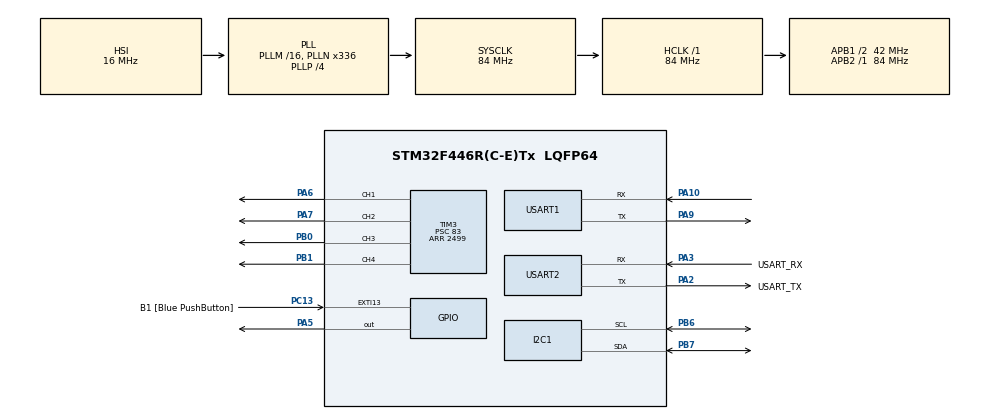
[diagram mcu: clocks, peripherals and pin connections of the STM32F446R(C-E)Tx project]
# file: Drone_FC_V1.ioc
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Mcu.Family=STM32F4
Mcu.Name=STM32F446R(C-E)Tx
Mcu.Package=LQFP64
NVIC.PriorityGroup=NVIC_PRIORITYGROUP_0
NVIC.TIM6_DAC_IRQn=true\:0\:0\:false\:false\:true\:true\:true\:true
PA10.Mode=Asynchronous
PA10.Signal=USART1_RX
PA13.GPIO_Label=TMS
PA13.Mode=Serial_Wire
PA13.Signal=SYS_JTMS-SWDIO
PA14.GPIO_Label=TCK
PA14.Mode=Serial_Wire
PA14.Signal=SYS_JTCK-SWCLK
PA2.GPIO_Label=USART_TX
PA2.Mode=Asynchronous
PA2.Signal=USART2_TX
PA3.GPIO_Label=USART_RX
PA3.Mode=Asynchronous
PA3.Signal=USART2_RX
PA5.Signal=GPIO_Output
PA6.Signal=S_TIM3_CH1
PA7.Signal=S_TIM3_CH2
PA9.Mode=Asynchronous
PA9.Signal=USART1_TX
PB0.Signal=S_TIM3_CH3
PB1.Signal=S_TIM3_CH4
PB3.GPIO_Label=SWO
PB3.Signal=SYS_JTDO-SWO
PB6.Mode=I2C
PB6.Signal=I2C1_SCL
PB7.Mode=I2C
PB7.Signal=I2C1_SDA
PC13.GPIO_Label=B1 [Blue PushButton]
PC13.GPIO_ModeDefaultEXTI=GPIO_MODE_IT_FALLING
PC13.Signal=GPXTI13
PC14-OSC32_IN.Mode=LSE-External-Oscillator
PC14-OSC32_IN.Signal=RCC_OSC32_IN
PC15-OSC32_OUT.Mode=LSE-External-Oscillator
PC15-OSC32_OUT.Signal=RCC_OSC32_OUT
PH0-OSC_IN.Mode=HSE-External-Oscillator
PH0-OSC_IN.Signal=RCC_OSC_IN
PH1-OSC_OUT.Mode=HSE-External-Oscillator
PH1-OSC_OUT.Signal=RCC_OSC_OUT
ProjectManager.HeapSize=0x200
ProjectManager.StackSize=0x400
ProjectManager.TargetToolchain=STM32CubeIDE
RCC.48MHZClocksFreq_Value=84000000
RCC.AHBFreq_Value=84000000
RCC.APB1CLKDivider=RCC_HCLK_DIV2
RCC.APB1Freq_Value=42000000
RCC.APB1TimFreq_Value=84000000
RCC.APB2Freq_Value=84000000
RCC.APB2TimFreq_Value=84000000
RCC.CortexFreq_Value=84000000
RCC.FLatency-AdvancedSettings=FLASH_LATENCY_2
RCC.HCLKFreq_Value=84000000
RCC.HSE_VALUE=8000000
RCC.HSI_VALUE=16000000
RCC.PLLN=336
RCC.PLLP=RCC_PLLP_DIV4
RCC.SYSCLKFreq_VALUE=84000000
RCC.SYSCLKSource=RCC_SYSCLKSOURCE_PLLCLK
RCC.USBFreq_Value=168000000
RCC.VCOOutputFreq_Value=336000000
SH.S_TIM3_CH1.0=TIM3_CH1,PWM Generation1 CH1
SH.S_TIM3_CH2.0=TIM3_CH2,PWM Generation2 CH2
SH.S_TIM3_CH3.0=TIM3_CH3,PWM Generation3 CH3
SH.S_TIM3_CH4.0=TIM3_CH4,PWM Generation4 CH4
TIM3.Channel-PWM\ Generation1\ CH1=TIM_CHANNEL_1
TIM3.Channel-PWM\ Generation2\ CH2=TIM_CHANNEL_2
TIM3.Channel-PWM\ Generation3\ CH3=TIM_CHANNEL_3
TIM3.Channel-PWM\ Generation4\ CH4=TIM_CHANNEL_4
TIM3.Period=2499
TIM3.Prescaler=83
TIM3.Pulse-PWM\ Generation1\ CH1=1000
TIM3.Pulse-PWM\ Generation2\ CH2=1000
TIM3.Pulse-PWM\ Generation3\ CH3=1000
TIM3.Pulse-PWM\ Generation4\ CH4=1000
TIM6.Period=100-1
TIM6.Prescaler=8400-1
USART1.VirtualMode=VM_ASYNC
USART2.VirtualMode=VM_ASYNC
VP_TIM3_VS_ClockSourceINT.Mode=Internal
VP_TIM6_VS_ClockSourceINT.Mode=Enable_Timer
board=NUCLEO-F446RE

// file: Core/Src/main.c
/* USER CODE BEGIN Header */
/**
  ******************************************************************************
  * @file           : main.c
  * @brief          : Firmware for a quadrocopter drone flight controller
  ******************************************************************************
  * @attention
  *
  * Copyright (c) 2026 STMicroelectronics.
  * All rights reserved.
  *
  * This software is licensed under terms that can be found in the LICENSE file
  * in the root directory of this software component.
  * If no LICENSE file comes with this software, it is provided AS-IS.
  *
  ******************************************************************************
  */
/* USER CODE END Header */
#include "main.h"
#include "i2c.h"
#include "tim.h"
#include "usart.h"
#include "gpio.h"

/* USER CODE BEGIN Includes */
#include <stdio.h>
#include <string.h>
#include <math.h>
/* USER CODE END Includes */

/* USER CODE BEGIN PV */

// -- Define Variables for RF Connection --

uint8_t incoming;	// Stores incoming data from Receiver Bridge

char line_buffer[64];	// Stores complete line from Receiver Bridge
int buffer_index = 0;	// Index in line_buffer

volatile struct {
	int16_t throttle;
    int16_t pitch;
    int16_t roll;
    int16_t yaw;
    int16_t arm;
}controlInput;	// Struct for control values

// Flag and toggle variable for arm/idel mode
volatile uint8_t is_armed = 0;
int16_t last_arm_input = 0;

// -- Define Variables for reading IMU --

uint8_t buffer[14];	// Stores incoming data from IMU
int16_t accel_x, accel_y, accel_z;	// Raw Data
int16_t gyro_x, gyro_y, gyro_z;	// Raw Data

float gyro_x_ds, gyro_y_ds, gyro_z_ds;	// Gyro rate of change per second
float accel_pitch, accel_roll;	// Calibrated angles
float raw_accel_pitch, raw_accel_roll;	// Calculated angles
float filtered_pitch, filtered_roll;	// Filtered angles

float dt = 0.01f; // Duration of loop for angle integration

float gyro_x_offset = 0, gyro_y_offset = 0, gyro_z_offset = 0;	// Variables for IMU calibration
float accel_pitch_offset = 0, accel_roll_offset = 0;

// -- Define PID Variables --

struct PID_Config {
	float kp;
	float ki;
	float kd;
	float integral;
	float lastError;
};

// Tuning values for coefficients
struct PID_Config pid_pitch = {2.25f, 0.0f, 0.49f, 0.0f, 0.0f};
struct PID_Config pid_roll  = {2.25f, 0.00f, 0.49f, 0.0f, 0.0f};
struct PID_Config pid_yaw   = {0.0f, 0.00f, 0.0f, 0.0f, 0.0f};

// Output values for ESC
volatile float pid_out_pitch = 0.0f;
volatile float pid_out_roll  = 0.0f;
volatile float pid_out_yaw   = 0.0f;

// -- Define Debugging Variables --

uint32_t debug_counter = 0;	// Determine debugging output rate

/* USER CODE END PV */

void SystemClock_Config(void);
/* USER CODE BEGIN PFP */

void Read_RF_Receiver(void);
HAL_StatusTypeDef Read_IMU(void);
void Calculate_PID(void);
void Calibrate_IMU(void);
void Update_Motors(void);
void ESC_init(void);

/* USER CODE END PFP */

/* USER CODE BEGIN 0 */
#ifdef __GNUC__
#define PUTCHAR_PROTOTYPE int __io_putchar(int ch)
#else
#define PUTCHAR_PROTOTYPE int fputc(int ch, FILE *f)
#endif

PUTCHAR_PROTOTYPE
{
  HAL_UART_Transmit(&huart2, (uint8_t *)&ch, 1, HAL_MAX_DELAY);
  return ch;
}

/* USER CODE END 0 */

int main(void)
{

  /* MCU Configuration--------------------------------------------------------*/

  /* Reset of all peripherals, Initializes the Flash interface and the Systick. */
  HAL_Init();

  /* Configure the system clock */
  SystemClock_Config();

  /* Initialize all configured peripherals */
  MX_GPIO_Init();
  MX_USART1_UART_Init();
  MX_USART2_UART_Init();
  MX_I2C1_Init();
  MX_TIM6_Init();
  MX_TIM3_Init();
  /* USER CODE BEGIN 2 */

  // Initialize ESC
  ESC_init();

  // Initialize IMU
  uint8_t power_mgmt = 0;
  HAL_I2C_Mem_Write(&hi2c1, (0x68 << 1), 0x6B, 1, &power_mgmt, 1, 100);
  HAL_Delay(100);

  // Activate MPU6050's DLPF and set to 4 -> cutoff at 20 Hz
  uint8_t dlpf_config = 4;
  HAL_I2C_Mem_Write(&hi2c1, (0x68 << 1), 0x1A, 1, &dlpf_config, 1, 100);
  HAL_Delay(10);

  // Calibrate IMU
  Calibrate_IMU();

  // Initialize timer interrupt
  HAL_TIM_Base_Start_IT(&htim6);

  /* USER CODE END 2 */

  /* Infinite loop */
  /* USER CODE BEGIN WHILE */
  while(1)
  {
	  // Read data from receiver bridge
	  Read_RF_Receiver();

	  // -- Debug Print (enable only when debugging!) --
	  if (debug_counter >= 1)
	  {
	  	  //printf("IMU:%.2f,%.2f,%.2f\n", filtered_pitch, filtered_roll, gyro_z_ds);

	  	  debug_counter = 0;
	  }

    /* USER CODE END WHILE */

  }
}

void SystemClock_Config(void)
{
  RCC_OscInitTypeDef RCC_OscInitStruct = {0};
  RCC_ClkInitTypeDef RCC_ClkInitStruct = {0};

  /** Configure the main internal regulator output voltage
  */
  __HAL_RCC_PWR_CLK_ENABLE();
  __HAL_PWR_VOLTAGESCALING_CONFIG(PWR_REGULATOR_VOLTAGE_SCALE3);

  /** Initializes the RCC Oscillators according to the specified parameters
  * in the RCC_OscInitTypeDef structure.
  */
  RCC_OscInitStruct.OscillatorType = RCC_OSCILLATORTYPE_HSI;
  RCC_OscInitStruct.HSIState = RCC_HSI_ON;
  RCC_OscInitStruct.HSICalibrationValue = RCC_HSICALIBRATION_DEFAULT;
  RCC_OscInitStruct.PLL.PLLState = RCC_PLL_ON;
  RCC_OscInitStruct.PLL.PLLSource = RCC_PLLSOURCE_HSI;
  RCC_OscInitStruct.PLL.PLLM = 16;
  RCC_OscInitStruct.PLL.PLLN = 336;
  RCC_OscInitStruct.PLL.PLLP = RCC_PLLP_DIV4;
  RCC_OscInitStruct.PLL.PLLQ = 2;
  RCC_OscInitStruct.PLL.PLLR = 2;
  if (HAL_RCC_OscConfig(&RCC_OscInitStruct) != HAL_OK)
  {
    Error_Handler();
  }

  /** Initializes the CPU, AHB and APB buses clocks
  */
  RCC_ClkInitStruct.ClockType = RCC_CLOCKTYPE_HCLK|RCC_CLOCKTYPE_SYSCLK
                              |RCC_CLOCKTYPE_PCLK1|RCC_CLOCKTYPE_PCLK2;
  RCC_ClkInitStruct.SYSCLKSource = RCC_SYSCLKSOURCE_PLLCLK;
  RCC_ClkInitStruct.AHBCLKDivider = RCC_SYSCLK_DIV1;
  RCC_ClkInitStruct.APB1CLKDivider = RCC_HCLK_DIV2;
  RCC_ClkInitStruct.APB2CLKDivider = RCC_HCLK_DIV1;

  if (HAL_RCC_ClockConfig(&RCC_ClkInitStruct, FLASH_LATENCY_2) != HAL_OK)
  {
    Error_Handler();
  }
}

/* USER CODE BEGIN 4 */

/**
  * @brief  Timer interrupt executed every 10 ms for IMU reading and PID calculation
  * @retval None
  */
void HAL_TIM_PeriodElapsedCallback(TIM_HandleTypeDef *htim)
{
    // Check if tim6 caused interrupt
    if (htim->Instance == TIM6)
    {
        // Read IMU data
        if (Read_IMU() == HAL_OK)
        {
            // Calculate PID value for motor control
            Calculate_PID();

            // Send value to ESC
            Update_Motors();

            debug_counter++;
        }
    }
}

/**
  * @brief  Initializes electronic speed controller
  * @retval None
  */
void ESC_init(void)
{
	// Stop the Timer
	TIM3->CR1 &= ~TIM_CR1_CEN;

	// Configure Prescaler and Auto Reload Period (equals to 400Hz and 2.5ms)
	TIM3->PSC = 83;
	TIM3->ARR = 2449;

	// Set to {WM Mode 1 and Preload
	TIM3->CCMR1 = (0x60U << 0) | (0x08U << 0)  | (0x60U << 8) | (0x08U << 8); // CH1 & CH2
	TIM3->CCMR2 = (0x60U << 0) | (0x08U << 0)  | (0x60U << 8) | (0x08U << 8); // CH3 & CH4

	// Polarity to Active High and arm output

	TIM3->CCER &= ~(TIM_CCER_CC1P | TIM_CCER_CC2P | TIM_CCER_CC3P | TIM_CCER_CC4P);
	TIM3->CCER |= (TIM_CCER_CC1E | TIM_CCER_CC2E | TIM_CCER_CC3E | TIM_CCER_CC4E);

	// Initialize channels with pulse width of 950us
	TIM3->CCR1 = 950;
	TIM3->CCR2 = 950;
	TIM3->CCR3 = 950;
	TIM3->CCR4 = 950;

	// Reset and start
	TIM3->EGR |= TIM_EGR_UG;
	TIM3->CNT = 0;
	TIM3->CR1 |= TIM_CR1_CEN;

	printf("Initialized ESC...\n");

	// Time buffer 2.5s
	HAL_Delay(2500);
}

/**
  * @brief  Calibrates IMU before taking flight
  * @retval None
  */
void Calibrate_IMU(void)
{
	// --- Start calibration ---
	printf("Calibrating IMU... Do not move Drone!\r\n");

	float gyro_x_sum = 0, gyro_y_sum = 0, gyro_z_sum = 0;
	float pitch_sum = 0, roll_sum = 0;
	int samples = 500;

	for (int i = 0; i < samples; i++)
	{
	    if (HAL_I2C_Mem_Read(&hi2c1, (0x68 << 1), 0x3B, 1, buffer, 14, 10) == HAL_OK)
	    {
	        // Extract raw data from IMU
	        int16_t ax = (int16_t)(buffer[0] << 8 | buffer[1]);
	        int16_t ay = (int16_t)(buffer[2] << 8 | buffer[3]);
	        int16_t az = (int16_t)(buffer[4] << 8 | buffer[5]);
	        int16_t gx = (int16_t)(buffer[8] << 8 | buffer[9]);
	        int16_t gy = (int16_t)(buffer[10] << 8 | buffer[11]);
	        int16_t gz = (int16_t)(buffer[12] << 8 | buffer[13]);

	        // Sum gyro rates
	        gyro_x_sum += gx / 131.0f;
	        gyro_y_sum += gy / 131.0f;
	        gyro_z_sum += gz / 131.0f;

	        // Calculate uncorrected accelerometer angles for test
	        float raw_pitch = atan2f((float)ay, (float)az) * 57.295f;
	        float raw_roll  = atan2f(-(float)ax, sqrtf((float)ay * ay + (float)az * az)) * 57.295f;

	        pitch_sum += raw_pitch;
	        roll_sum += raw_roll;
	    }
	    HAL_Delay(2);
	}

	// Calculate average error
	gyro_x_offset = gyro_x_sum / samples;
	gyro_y_offset = gyro_y_sum / samples;
	gyro_z_offset = gyro_z_sum / samples;

	accel_pitch_offset = pitch_sum / samples;
	accel_roll_offset  = roll_sum / samples;

	printf("Calibration done! P_off: %.2f | R_off: %.2f\r\n", accel_pitch_offset, accel_roll_offset);
	// --- End of calibration ---
}

/**
  * @brief  Reads control values from receiver bridge
  * @retval None
  */
void Read_RF_Receiver(void)
{
	// Temporary values for sanity check
	int16_t temp_pitch, temp_roll, temp_yaw, temp_arm, temp_throttle;

	// Flag for finding a new line
	static uint8_t sync_detected = 0;

	// Check for and delete OverRunErrors
	// Prevt UART blocking after reset
	if (__HAL_UART_GET_FLAG(&huart1, UART_FLAG_ORE)) {
		__HAL_UART_CLEAR_FLAG(&huart1, UART_FLAG_ORE);
	}
	if (__HAL_UART_GET_FLAG(&huart1, UART_FLAG_NE)) {
		__HAL_UART_CLEAR_FLAG(&huart1, UART_FLAG_NE);
	}

	// Receive data from receiver bridge
	if(HAL_UART_Receive(&huart1, &incoming, 1, 1) == HAL_OK)
	{
		// Delete buffer when new line is detected
		if (incoming == '#')
		{
			buffer_index = 0;
			sync_detected = 1;
			return; // To leave out the '#'
		}

		// Read input only when flag is set
		if (sync_detected)
		{
			if (incoming == '\n')
			{
				if (buffer_index > 0)
				{
					line_buffer[buffer_index] = '\0'; // End of String

					// Check if parsing from input worked
					int parsed = sscanf(line_buffer, "%hd,%hd,%hd,%hd,%hd", &temp_pitch, &temp_roll, &temp_yaw, &temp_arm, &temp_throttle);

					// For debugging purposes
					if (parsed == 5)
					{
						HAL_GPIO_TogglePin(GPIOA, GPIO_PIN_5);

						// --- SANITY CHECK ---
						// Check if input makes sense
						if (temp_pitch >= -45 && temp_pitch <= 45 &&
						    temp_roll >= -45 && temp_roll <= 45 &&
						    temp_throttle >= 1000 && temp_throttle <= 2000)
						{
						    // Values make sense, write to control struct
						    controlInput.pitch = temp_pitch;
						    controlInput.roll = temp_roll;
						    controlInput.yaw = temp_yaw;
						    controlInput.arm = temp_arm;
						    controlInput.throttle = temp_throttle;

						    // Toggle logic for arm mode
						    if (controlInput.arm == 1 && last_arm_input == 0)
						    {
						    	if (is_armed == 0)
						    	{
						        	is_armed = 1;
						        }
						        else
						        {
						        	is_armed = 0;
						        }
						    }
						    last_arm_input = controlInput.arm;
						}
						else
						{
						    // Values are not legit, throw away
						}

						// Pass values to Serial for debugging, turn off for flight performance
						//printf("%s, is_armed: %d\n", line_buffer, is_armed);
					}
				}
				buffer_index = 0;
				sync_detected = 0; // Wait for the next '#'
			}
			else if (incoming != '\r')
			{
				if (buffer_index < 62) // Protect buffer from over running
				{
					line_buffer[buffer_index++] = incoming;
				}
				else
				{
					buffer_index = 0;
					sync_detected = 0; // Buffer is full with no '\n' -> reset
				}
			}
		}
	}
}

/**
  * @brief  Reads data from IMU
  * @retval Enum indicating success of reading IMU
  */
HAL_StatusTypeDef Read_IMU(void)
{
	// -- Receive data from IMU --
    HAL_StatusTypeDef status = HAL_I2C_Mem_Read(&hi2c1, (0x68 << 1), 0x3B, 1, buffer, 14, 5);

    if (status == HAL_OK)
    {
    	// Extract raw data from IMU
		accel_x = (int16_t)(buffer[0] << 8 | buffer[1]);
	    accel_y = (int16_t)(buffer[2] << 8 | buffer[3]);
	    accel_z = (int16_t)(buffer[4] << 8 | buffer[5]);
	    gyro_x  = (int16_t)(buffer[8] << 8 | buffer[9]);
	    gyro_y  = (int16_t)(buffer[10] << 8 | buffer[11]);
	    gyro_z  = (int16_t)(buffer[12] << 8 | buffer[13]);

	    // Convert raw values to physical unit -> degrees/second
	    gyro_x_ds = (gyro_x / 131.0f) - gyro_x_offset;
	    gyro_y_ds = (gyro_y / 131.0f) - gyro_y_offset;
	    gyro_z_ds = (gyro_z / 131.0f) - gyro_z_offset;

	    // Calculate angle of pitch and roll from accelerometer and convert to degrees
	    raw_accel_pitch = atan2f((float)accel_y, (float)accel_z) * 57.295f;
	    raw_accel_roll  = atan2f(-(float)accel_x, sqrtf((float)accel_y * accel_y + (float)accel_z * accel_z)) * 57.295f;

	    // Correct angle of pitch and roll with calibrated offset
	    accel_pitch = raw_accel_pitch - accel_pitch_offset;
	    accel_roll = raw_accel_roll - accel_roll_offset;

	    // Filter/Fuse values with complementary filter (tune here)
	    filtered_pitch = 0.995f * (filtered_pitch + gyro_x_ds * dt) + 0.005f * accel_pitch;
	    filtered_roll  = 0.995f * (filtered_roll  + gyro_y_ds * dt) + 0.005f * accel_roll;

	    // No absolute value for yaw, only rate of change from gyro is used
	    // due to risk of integration error
    }
    return status;
}

/**
  * @brief  Calculates outputs for ESC using PID control
  * @retval None
  */
void Calculate_PID(void)
{
	// Prevent I-term windup during start
	if (is_armed == 0)
	{
	    // Delete PID-Memory
	    pid_pitch.integral = 0.0f;
	    pid_pitch.lastError = 0.0f;

	    pid_roll.integral = 0.0f;
	    pid_roll.lastError = 0.0f;

	    pid_yaw.integral = 0.0f;
	    pid_yaw.lastError = 0.0f;

	    // PID-Outputs to zero
	    pid_out_pitch = 0.0f;
	    pid_out_roll  = 0.0f;
	    pid_out_yaw   = 0.0f;

	    return;
	}

    // --- Pitch ---
    float error_pitch = (float)controlInput.pitch - filtered_pitch;
    float p_term_pitch = pid_pitch.kp * error_pitch;

    pid_pitch.integral += error_pitch * dt;
    if (pid_pitch.integral > 400.0f)  pid_pitch.integral = 400.0f; // Anti-Windup
    if (pid_pitch.integral < -400.0f) pid_pitch.integral = -400.0f;

    float d_term_pitch = pid_pitch.kd * (error_pitch - pid_pitch.lastError) / dt;
    pid_out_pitch = p_term_pitch + (pid_pitch.ki * pid_pitch.integral) + d_term_pitch;
    pid_pitch.lastError = error_pitch;

    // --- Roll ---
    float error_roll = (float)controlInput.roll - filtered_roll;
    float p_term_roll = pid_roll.kp * error_roll;

    pid_roll.integral += error_roll * dt;
    if (pid_roll.integral > 400.0f)  pid_roll.integral = 400.0f; // Anti-Windup
    if (pid_roll.integral < -400.0f) pid_roll.integral = -400.0f;

    float d_term_roll = pid_roll.kd * (error_roll - pid_roll.lastError) / dt;
    pid_out_roll = p_term_roll + (pid_roll.ki * pid_roll.integral) + d_term_roll;
    pid_roll.lastError = error_roll;

    // --- YAW ---
    float error_yaw = (float)controlInput.yaw - gyro_z_ds;
    float p_term_yaw = pid_yaw.kp * error_yaw;

    pid_yaw.integral += error_yaw * dt;
    if (pid_yaw.integral > 200.0f)  pid_yaw.integral = 200.0f;
    if (pid_yaw.integral < -200.0f) pid_yaw.integral = -200.0f;

    pid_out_yaw = p_term_yaw + (pid_yaw.ki * pid_yaw.integral);
}

/**
  * @brief  Mixes PID Values with throttle and writes values to ESC
  * @retval None
  */
void Update_Motors(void)
{
	// Check if motors are allowed to turn
	if (is_armed == 0)
	{
		__HAL_TIM_SET_COMPARE(&htim3, TIM_CHANNEL_1, 1000);
	    __HAL_TIM_SET_COMPARE(&htim3, TIM_CHANNEL_2, 1000);
	    __HAL_TIM_SET_COMPARE(&htim3, TIM_CHANNEL_3, 1000);
	    __HAL_TIM_SET_COMPARE(&htim3, TIM_CHANNEL_4, 1000);
	    return; // Exit function
	}

	// --- Motor mixing ---

	// PID corrections are mixed with base throttle / Props-out
	int16_t m1 = controlInput.throttle + pid_out_pitch - pid_out_roll + pid_out_yaw; // Front Left (CCW)
	int16_t m2 = controlInput.throttle + pid_out_pitch + pid_out_roll - pid_out_yaw; // Front Right (CW)
	int16_t m3 = controlInput.throttle - pid_out_pitch - pid_out_roll - pid_out_yaw; // Rear Left (CW)
	int16_t m4 = controlInput.throttle - pid_out_pitch + pid_out_roll + pid_out_yaw; // Rear Right (CCW)

	// Output Cap
	// Keep values inbetween 1000 and 2000 µs PMW
	if (m1 < 1180) m1 = 1180; if (m1 > 2000) m1 = 2000;
	if (m2 < 1180) m2 = 1180; if (m2 > 2000) m2 = 2000;
	if (m3 < 1180) m3 = 1180; if (m3 > 2000) m3 = 2000;
	if (m4 < 1180) m4 = 1180; if (m4 > 2000) m4 = 2000;

	// Write to registers of tim3
	__HAL_TIM_SET_COMPARE(&htim3, TIM_CHANNEL_1, m1);
	__HAL_TIM_SET_COMPARE(&htim3, TIM_CHANNEL_2, m2);
	__HAL_TIM_SET_COMPARE(&htim3, TIM_CHANNEL_3, m3);
	__HAL_TIM_SET_COMPARE(&htim3, TIM_CHANNEL_4, m4);
}

/* USER CODE END 4 */

void Error_Handler(void)
{
  __disable_irq();
  while (1)
  {
  }
}
